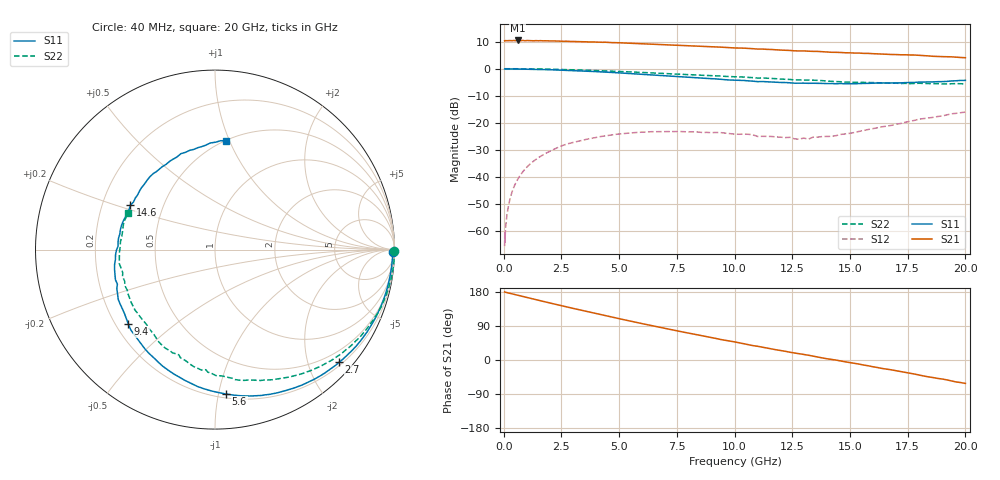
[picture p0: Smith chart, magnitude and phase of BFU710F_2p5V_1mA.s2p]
! Filename:  P:\Prog\Test\Noise\ATS_data\Testdata_Net\BFU710\BFU710_2W_A1_2.5V1mA_D.s2p
! Date/Time: Fri 29/Apr/2011 13:26:21
! BFU710_2W_A1_2.5V1mA
! bias mode 1: Vout= 2.5000 V, Iout= 1.0280 mA, Vin= 0.7817 V, Iin= 0.0028 mA
! Date/time Wed Mar 16 12:33:11 2011
! Device data file deembeded for feedlines and parallel
! Original file: \BFU710\BFU710_2W_A1_2.5V1mA_R.s2p
! Feed-files: PR003V01_101208_Feed1.s2p, PR003V01_101208_Feed2.s2p
! Parallel-file: PR003V01_101208_Par.s2p
# MHz S MA R 50
!  Freq-MHz  S11-mag  S11-arg  S21-mag  S21-arg  S12-mag  S12-arg  S22-mag  S22-arg
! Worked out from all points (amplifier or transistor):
!   167 points, 40 MHz to 20 GHz, reference 50 ohm
!   highest |S21| = 10.4 dB at 600 MHz (marker M1)
!   |S21| within 3 dB of that: start of sweep to 10.72 GHz
!   unconditionally stable (mu >= 1): 9.792 GHz to 18.72 GHz
!   at 550 MHz: K = -0.02, MSG = 26.1 dB, |S12| = -41.7 dB
!   at 4.2 GHz: K = 0.26, MSG = 17.4 dB, |S12| = -25.1 dB
!   at 20 GHz: K = 0.85, MSG = 10.0 dB, |S12| = -16.0 dB
!   S11 on the Smith chart (normalised r, x): 40 MHz: open; 2.7 GHz: 0.26, -2.57; 5.6 GHz: 0.23, -1.05; 9.4 GHz: 0.25, -0.35; 14.6 GHz: 0.32, +0.22; 20 GHz: 0.50, +0.97
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40  0.9896 -0.7  3.293 179.5  0.0005281 76.8  0.9996 -0.4
50  0.9856 -0.9  3.307 178.9  0.0009943 56.4  0.9996 -0.5
60  0.9898 -0.8  3.265 178.7  0.0006224 76.5  0.9997 -0.5
70  0.9899 -1.1  3.274 179.0  0.0009305 85.6  0.9997 -0.6
100  0.9898 -1.5  3.289 178.4  0.001393 86.3  0.9995 -0.9
220  0.9891 -3.5  3.298 176.8  0.003151 89.4  0.9997 -2.0
600  0.9854 -9.5  3.325 171.1  0.008942 85.8  0.9983 -5.5
1400  0.9727 -22.0  3.299 159.2  0.0212 75.6  0.9896 -13.0
2700  0.9342 -42.2  3.217 140.6  0.04011 59.8  0.9622 -24.8
3400  0.9087 -52.9  3.153 130.8  0.04769 51.5  0.9429 -31.1
4400  0.866 -67.9  3.084 117.2  0.05765 40.8  0.9117 -39.6
5600  0.8071 -85.6  2.943 101.1  0.06566 28.2  0.8668 -49.9
6800  0.7478 -102.9  2.794 85.8  0.06905 17.1  0.8225 -59.6
8200  0.6853 -122.4  2.637 68.7  0.06805 7.3  0.7719 -70.9
9400  0.6362 -139.4  2.502 54.1  0.06604 0.6  0.7329 -81.2
10200  0.6097 -149.8  2.413 45.5  0.06158 -1.5  0.7037 -87.5
11600  0.5705 -168.7  2.264 29.4  0.05607 -1.4  0.6622 -100.5
13400  0.5389 167.9  2.091 10.2  0.0545 9.3  0.6151 -116.7
14600  0.5321 152.3  1.994 -2.7  0.06117 16.7  0.5746 -129.3
16800  0.5451 124.7  1.83 -26.1  0.08995 19.1  0.5387 -155.1
18200  0.5665 106.8  1.751 -42.2  0.1199 11.6  0.5347 -175.2
20000  0.6086 84.2  1.597 -61.8  0.1582 -0.8  0.5246 157.2
